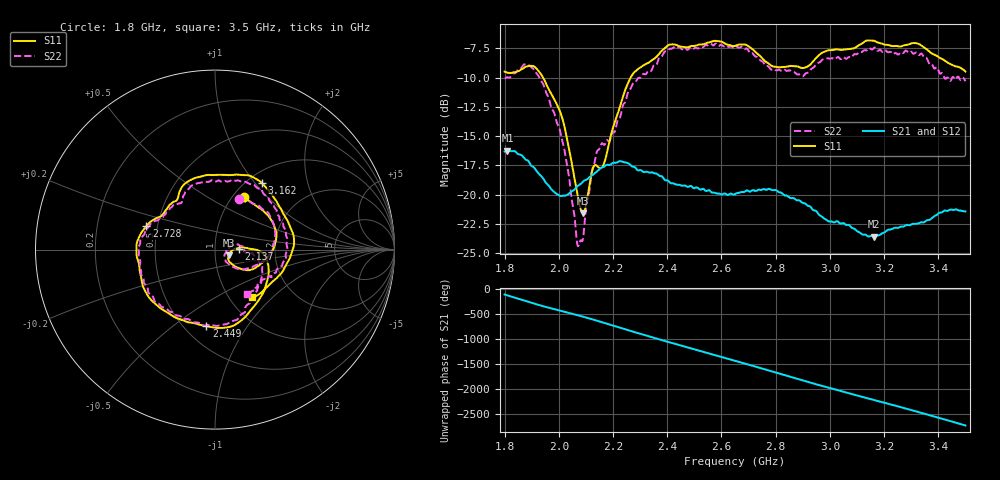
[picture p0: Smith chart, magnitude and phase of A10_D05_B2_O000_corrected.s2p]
! Created with skrf 1.9.0 (http://scikit-rf.org).
# Hz S RI R 50.0
!freq ReS11 ImS11 ReS21 ImS21 ReS12 ImS12 ReS22 ImS22
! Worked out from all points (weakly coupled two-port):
!   1601 points, 1.8 GHz to 3.5 GHz, reference 50 ohm
!   highest |S21| = -16.24 dB at 1.811 GHz (marker M1); lowest = -23.6 dB at 3.163 GHz (marker M2)
!   lowest |S11| = -21.6 dB at 2.089 GHz (marker M3), VSWR 1.18, Z = 58.2 - j3.7 ohm
!   |S11| at or under -10 dB: 1.942 GHz to 2.265 GHz (322.6 MHz wide, 15.3 % of centre)
!   |S22| runs from -24.4 to -7.1 dB; largest |S21 - S12| = 0.0028
!   S11 on the Smith chart (normalised r, x): 1.8 GHz: 1.13, +0.75; 2.137 GHz: 1.31, +0.01; 2.449 GHz: 0.64, -0.66; 2.728 GHz: 0.43, +0.13; 3.162 GHz: 1.16, +1.09; 3.5 GHz: 1.27, -0.76
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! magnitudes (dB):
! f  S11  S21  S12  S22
! 1.8 GHz  -9.5  -16.3  -16.3  -10.1
! 1.811 GHz  -9.6  -16.2  -16.2  -10.0
! 1.88 GHz  -9.1  -17.0  -17.0  -8.9
! 1.941 GHz  -10.0  -18.6  -18.6  -10.5
! 2.013 GHz  -13.4  -20.1  -20.1  -15.4
! 2.068 GHz  -19.9  -19.3  -19.3  -24.2
! 2.084 GHz  -21.4  -19.0  -19.0  -23.9
! 2.089 GHz  -21.6  -18.9  -18.9  -23.8
! 2.137 GHz  -17.5  -18.1  -18.1  -16.7
! 2.167 GHz  -17.3  -17.6  -17.6  -15.8
! 2.266 GHz  -9.9  -17.5  -17.5  -10.9
! 2.367 GHz  -8.0  -18.3  -18.3  -8.5
! 2.449 GHz  -7.4  -19.2  -19.2  -7.4
! 2.65 GHz  -7.3  -20.0  -19.9  -7.5
! 2.728 GHz  -7.9  -19.7  -19.7  -8.2
! 2.798 GHz  -9.1  -19.6  -19.6  -9.3
! 2.934 GHz  -8.7  -21.2  -21.2  -9.2
! 3.162 GHz  -6.8  -23.6  -23.6  -7.5
! 3.163 GHz  -6.8  -23.6  -23.6  -7.4
! 3.217 GHz  -7.2  -23.0  -23.0  -7.8
! 3.325 GHz  -7.1  -22.5  -22.4  -8.0
! 3.5 GHz  -9.5  -21.4  -21.4  -10.3
